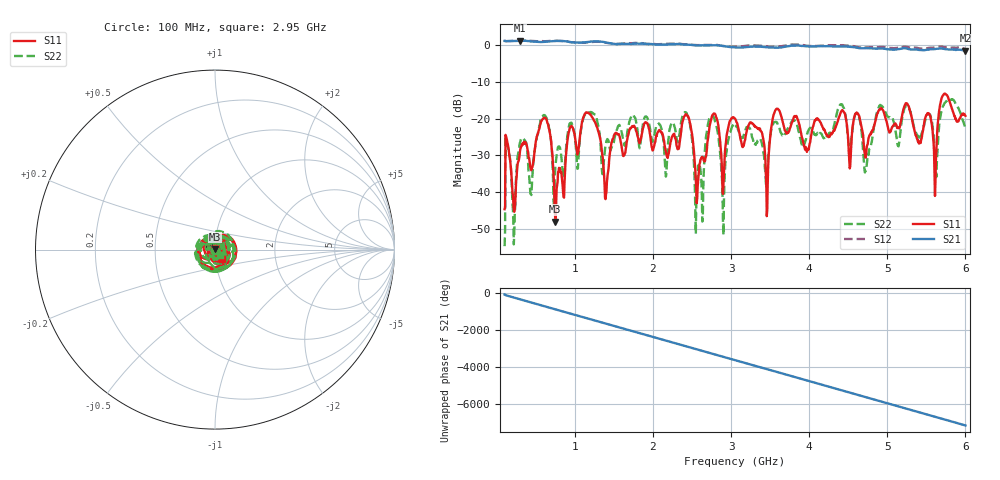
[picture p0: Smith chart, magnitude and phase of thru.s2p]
# Hz S DB R 50
!freq S11 S21 S12 S22
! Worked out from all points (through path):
!   1001 points, 100 MHz to 6 GHz, reference 50 ohm
!   highest |S21| = 1.26 dB at 294.7 MHz (marker M1); lowest = -1.5 dB at 6 GHz (marker M2)
!   group delay of S21, straight-line fit = 3.3 ns
!   lowest |S11| = -48.0 dB at 749 MHz (marker M3), VSWR 1.01, Z = 50 + j0.398 ohm
!   |S11| at or under -10 dB: start of sweep to end of sweep
!   |S22| runs from -54.7 to -14.7 dB; largest |S21 - S12| = 1.1
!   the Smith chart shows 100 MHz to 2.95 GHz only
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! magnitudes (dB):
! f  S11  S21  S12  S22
! 100 MHz  -44.6  1.2  1.2  -54.7
! 141.3 MHz  -27.0  1.1  1.2  -27.7
! 218 MHz  -44.9  1.2  1.2  -54.2
! 294.7 MHz  -29.3  1.3  1.3  -26.6
! 436.3 MHz  -33.7  1.1  1.2  -40.5
! 625.1 MHz  -19.8  1.0  1.1  -19.3
! 749 MHz  -48.0  1.2  1.3  -33.4
! 1.085 GHz  -21.6  0.8  0.7  -21.9
! 1.398 GHz  -40.6  0.8  0.7  -27.0
! 2.071 GHz  -23.4  0.2  0.3  -21.5
! 2.43 GHz  -18.9  0.2  0.3  -18.4
! 2.56 GHz  -43.0  0.0  0.1  -38.2
! 2.761 GHz  -19.0  0.0  0.1  -19.3
! 2.897 GHz  -40.5  -0.2  -0.1  -48.7
! 3.05 GHz  -20.0  -0.6  -0.3  -21.8
! 3.457 GHz  -46.5  -0.5  -0.2  -38.0
! 3.575 GHz  -17.4  -0.6  -0.3  -20.8
! 4.035 GHz  -23.3  -0.3  -0.2  -22.8
! 4.614 GHz  -18.5  -0.7  -0.5  -18.5
! 4.726 GHz  -30.4  -0.8  -0.6  -34.1
! 5.021 GHz  -23.3  -1.1  -0.7  -19.6
! 6 GHz  -19.2  -1.5  -0.9  -22.7
